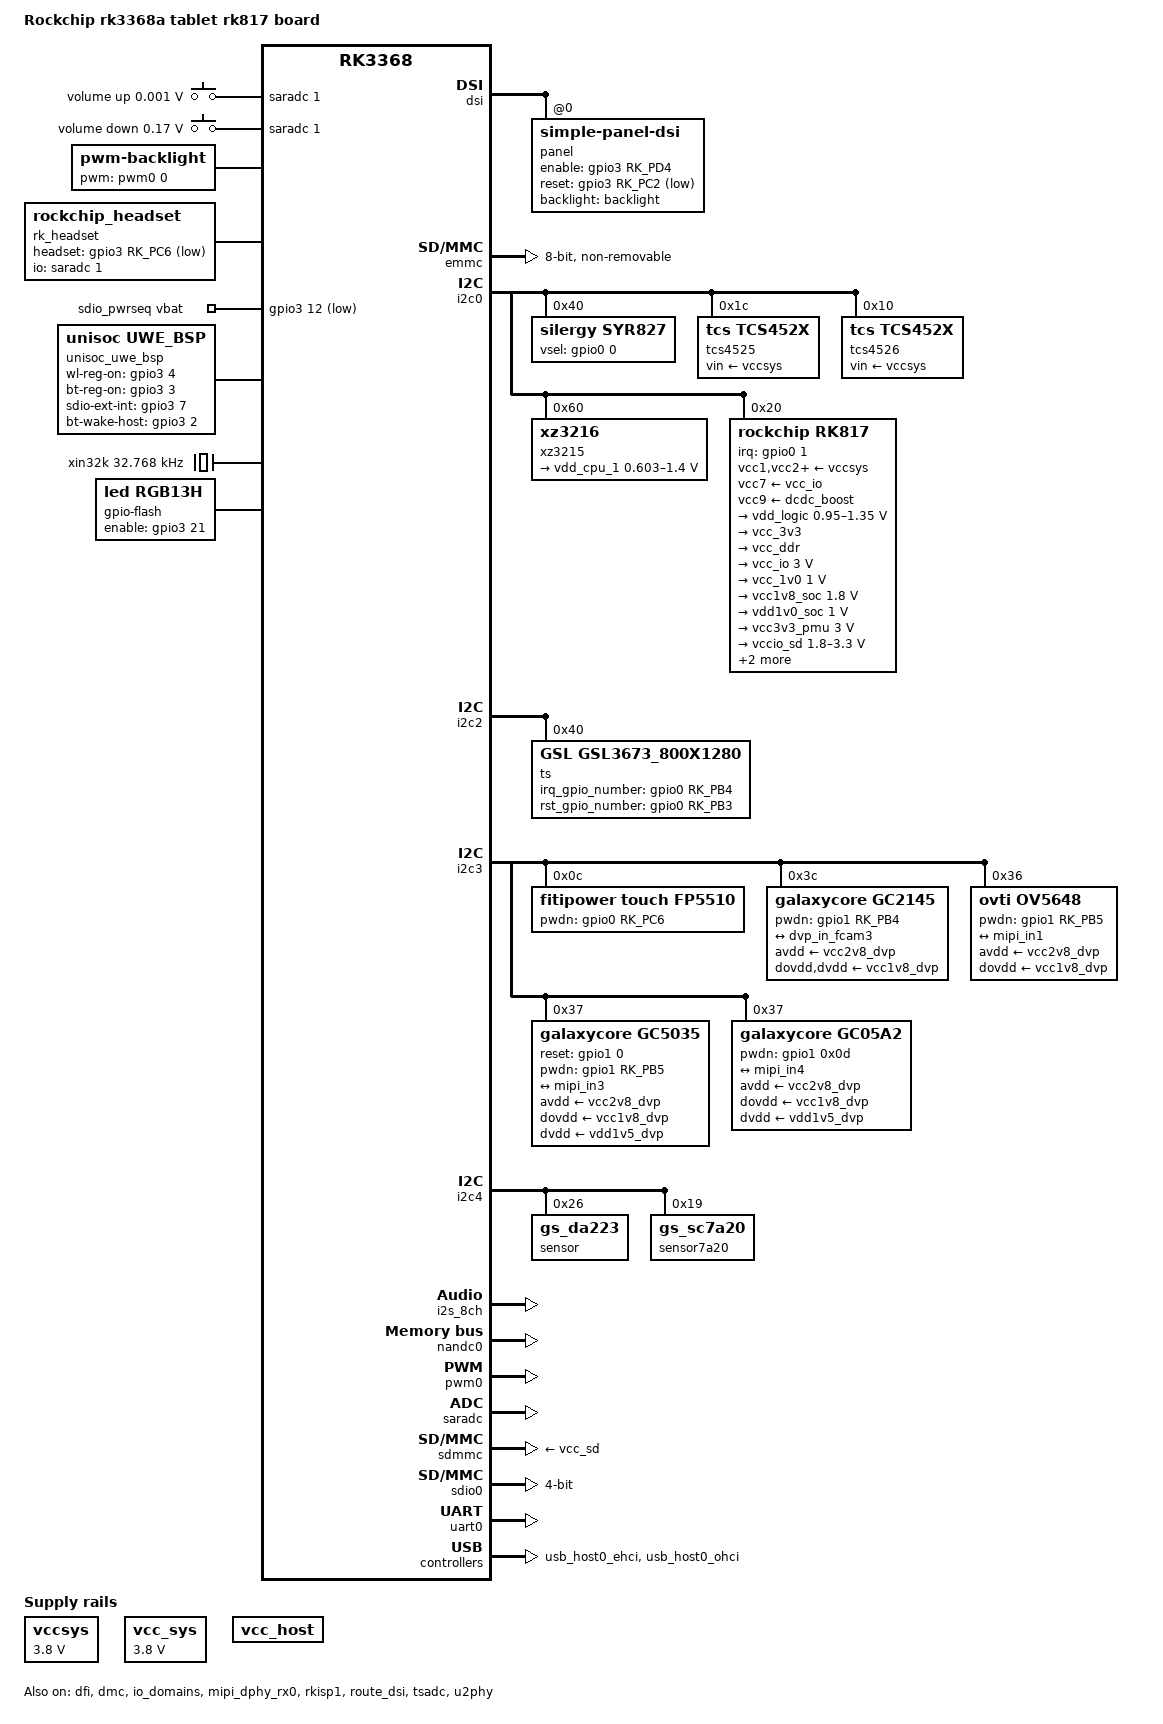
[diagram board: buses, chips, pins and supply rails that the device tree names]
// SPDX-License-Identifier: (GPL-2.0+ OR MIT)
/*
 * Copyright (c) 2020 Rockchip Electronics Co., Ltd.
 */

/dts-v1/;
#include <dt-bindings/input/input.h>
#include <dt-bindings/pwm/pwm.h>
#include <dt-bindings/sensor-dev.h>
#include "rk3368.dtsi"
#include "rk3368-android.dtsi"
/ {
	model = "Rockchip rk3368a tablet rk817 board";
	compatible = "rockchip,tablet", "rockchip,rk3368a", "rockchip,rk3368";

	adc_keys: adc-keys {
		compatible = "adc-keys";
		io-channels = <&saradc 1>;
		io-channel-names = "buttons";
		keyup-threshold-microvolt = <1024000>;
		poll-interval = <100>;

		vol-up-key {
			label = "volume up";
			linux,code = <KEY_VOLUMEUP>;
			press-threshold-microvolt = <1000>;
		};

		vol-down-key {
			label = "volume down";
			linux,code = <KEY_VOLUMEDOWN>;
			press-threshold-microvolt = <170000>;
		};
	};

	backlight: backlight {
		compatible = "pwm-backlight";
		pwms = <&pwm0 0 25000 0>;
		brightness-levels = <0x00 0x01 0x02 0x03 0x04 0x05 0x06 0x07 0x08 0x09 0x0a 0x0b 0x0c 0x0d 0x0e 0x0f 0x10 0x11 0x12 0x13 0x14 0x15 0x16 0x17 0x18 0x19 0x1a 0x1b 0x1c 0x1d 0x1e 0x1f 0x20 0x21 0x22 0x23 0x24 0x25 0x26 0x27 0x28 0x29 0x2a 0x2b 0x2c 0x2d 0x2e 0x2f 0x30 0x31 0x32 0x33 0x34 0x35 0x36 0x37 0x38 0x39 0x3a 0x3b 0x3c 0x3d 0x3e 0x3f 0x40 0x41 0x42 0x43 0x44 0x45 0x46 0x47 0x48 0x49 0x4a 0x4b 0x4c 0x4d 0x4e 0x4f 0x50 0x51 0x52 0x53 0x54 0x55 0x56 0x57 0x58 0x59 0x5a 0x5b 0x5c 0x5d 0x5e 0x5f 0x60 0x61 0x62 0x63 0x64 0x65 0x66 0x67 0x68 0x69 0x6a 0x6b 0x6c 0x6d 0x6e 0x6f 0x70 0x71 0x72 0x73 0x74 0x75 0x76 0x77 0x78 0x79 0x7a 0x7b 0x7c 0x7d 0x7e 0x7f 0x80 0x81 0x82 0x83 0x84 0x85 0x86 0x87 0x88 0x89 0x8a 0x8b 0x8c 0x8d 0x8e 0x8f 0x90 0x91 0x92 0x93 0x94 0x95 0x96 0x97 0x98 0x99 0x9a 0x9b 0x9c 0x9d 0x9e 0x9f 0xa0 0xa1 0xa2 0xa3 0xa4 0xa5 0xa6 0xa7 0xa8 0xa9 0xaa 0xab 0xac 0xad 0xae 0xaf 0xb0 0xb1 0xb2 0xb3 0xb4 0xb5 0xb6 0xb7 0xb8 0xb9 0xba 0xbb 0xbc 0xbd 0xbe 0xbf 0xc0 0xc1 0xc2 0xc3 0xc4 0xc5 0xc6 0xc7 0xc8 0xc9 0xca 0xcb 0xcc 0xcd 0xce 0xcf 0xd0 0xd1 0xd2 0xd3 0xd4 0xd5 0xd6 0xd7 0xd8 0xd9 0xda 0xdb 0xdc 0xdd 0xde 0xdf 0xe0 0xe1 0xe2 0xe3 0xe4 0xe5 0xe6 0xe7 0xe8 0xe9 0xea 0xeb 0xec 0xed 0xee 0xef 0xf0 0xf1 0xf2 0xf3 0xf4 0xf5 0xf6 0xf7 0xf8 0xf9 0xfa 0xfb 0xfc 0xfd 0xfe 0xff>;
		default-brightness-level = <128>;
	};

	charge-animation {
		compatible = "rockchip,uboot-charge";
		rockchip,uboot-charge-on = <0>;
		rockchip,android-charge-on = <1>;
		rockchip,uboot-low-power-voltage = <3400>;
		rockchip,screen-on-voltage = <3400>;
		status = "okay";
	};

	chosen: chosen {
		bootargs = "earlycon=uart8250,mmio32,0xff690000 swiotlb=1 console=ttyFIQ0 androidboot.baseband=N/A androidboot.veritymode=enforcing androidboot.hardware=rk30board androidboot.console=ttyFIQ0 init=/init kpti=0";
	};

	rk817-sound {
		compatible = "simple-audio-card";
		simple-audio-card,format = "i2s";
		simple-audio-card,name = "rockchip-rk817-codec";
		simple-audio-card,mclk-fs = <256>;
		simple-audio-card,widgets =
			"Microphone", "Mic Jack",
			"Headphone", "Headphone Jack";
		simple-audio-card,routing =
			"Mic Jack", "MICBIAS1",
			"IN1P", "Mic Jack",
			"Headphone Jack", "HPOL",
			"Headphone Jack", "HPOR";
		simple-audio-card,dai-link@0 {
			format = "i2s";
			cpu {
				sound-dai = <&i2s_8ch>;
			};
			codec {
				sound-dai = <&rk817_codec>;
			};
		};
		simple-audio-card,dai-link@1 {
			format = "i2s";
			cpu {
				sound-dai = <&i2s_8ch>;
			};
			codec {
				sound-dai = <&hdmi>;
			};
		};
	};

	rk_headset: rk-headset {
		compatible = "rockchip_headset";
		headset_gpio = <&gpio3 RK_PC6 GPIO_ACTIVE_LOW>;
		pinctrl-names = "default";
		pinctrl-0 = <&hp_det>;
		io-channels = <&saradc 1>;
	};

	sdio_pwrseq: sdio-pwrseq {
		compatible = "mmc-pwrseq-simple";
		pinctrl-names = "default";
		pinctrl-0 = <&wifi_enable_h>;

		/*
		 * On the module itself this is one of these (depending
		 * on the actual card populated):
		 * - SDIO_RESET_L_WL_REG_ON
		 * - PDN (power down when low)
		 */
		vbat-gpios = <&gpio3 12 GPIO_ACTIVE_LOW>;
	};

	vccsys: vccsys {
		compatible = "regulator-fixed";
		regulator-name = "vcc3v8_sys";
		regulator-always-on;
		regulator-boot-on;
		regulator-min-microvolt = <3800000>;
		regulator-max-microvolt = <3800000>;
	};

	sprd-wlan {
		compatible = "sprd,uwe5622-wifi";
		status = "okay";
	};

	unisoc_uwe_bsp: uwe-bsp {
		compatible = "unisoc,uwe_bsp";
		wl-reg-on = <&gpio3 4 GPIO_ACTIVE_HIGH>;
		bt-reg-on = <&gpio3 3 GPIO_ACTIVE_HIGH>;
		sdio-ext-int-gpio = <&gpio3 7 GPIO_ACTIVE_HIGH>;
		unisoc,btwf-file-name = "/vendor/etc/firmware/wcnmodem.bin";
		adma-tx;
		adma-rx;
		bt-wake-host-gpio = <&gpio3 2 GPIO_ACTIVE_HIGH>;
		blksz-512;
		keep-power-on;
		status = "okay";
	};

	sprd-mtty {
		compatible = "sprd,mtty";
		sprd,name = "ttyBT";
		status = "disabled";
	};

	wireless-wlan {
		compatible = "wlan-platdata";
		/* wifi_chip_type - wifi chip define
		* ap6210, ap6330, ap6335
		* rtl8188eu, rtl8723bs, rtl8723bu
		* esp8089
		*/
		wifi_chip_type = "ap6255";
		status = "disable";
	};

	wireless-bluetooth {
		compatible = "bluetooth-platdata";
		uart_rts_gpios = <&gpio2 27 GPIO_ACTIVE_LOW>;
		clocks = <&rk817 1>;
		clock-names = "ext_clock";
		pinctrl-names = "default","rts_gpio";
		pinctrl-0 = <&uart0_rts  &bt_irq_gpio>;
		pinctrl-1 = <&uart0_rts_gpio>;

		status = "disabled";
	};

	vcc_sys: vcc-sys {
		compatible = "regulator-fixed";
		regulator-name = "vcc_sys";
		regulator-always-on;
		regulator-boot-on;
		regulator-min-microvolt = <3800000>;
		regulator-max-microvolt = <3800000>;
	};

	vcc_host: vcc-host {
		compatible = "regulator-fixed";
		enable-active-high;
		pinctrl-names = "default";
		pinctrl-0 = <&host_vbus_drv>;
		regulator-name = "vcc_host";
		regulator-always-on;
	};

	xin32k: xin32k {
		compatible = "fixed-clock";
		clock-frequency = <32768>;
		clock-output-names = "xin32k";
		#clock-cells = <0>;
	};

	flash_rgb13h: flash-rgb13h {
		compatible = "led,rgb13h";
		label = "gpio-flash";
		led-max-microamp = <20000>;
		flash-max-microamp = <20000>;
		flash-max-timeout-us = <1000000>;
		enable-gpio = <&gpio3 21 GPIO_ACTIVE_HIGH>;
		rockchip,camera-module-index = <0>;
		rockchip,camera-module-facing = "back";
	};

};

&cif_clkout {
	/* cif_clkout */
	rockchip,pins = <1 11 RK_FUNC_1 &pcfg_pull_none_4ma>;
};

&cpu_l0 {
	reg-name = "vdd_cpu";
};

&cpu_l1 {
	reg-name = "vdd_cpu";
};

&cpu_l2 {
	reg-name = "vdd_cpu";
};

&cpu_l3 {
	reg-name = "vdd_cpu";
};

&cpu_b0 {
	reg-name = "vdd_cpu";
};

&cpu_b1 {
	reg-name = "vdd_cpu";
};

&cpu_b2 {
	reg-name = "vdd_cpu";
};

&cpu_b3 {
	reg-name = "vdd_cpu";
};

&gpu {
	logic-supply = <&vdd_logic>;
};

&dsi {
	status = "okay";
	//rockchip,lane-rate = <500>;

	panel:panel@0 {
		compatible = "simple-panel-dsi";
		reg = <0>;
		backlight = <&backlight>;
		enable-gpios = <&gpio3 RK_PD4 GPIO_ACTIVE_HIGH>;
		reset-gpios = <&gpio3 RK_PC2 GPIO_ACTIVE_LOW>;
		prepare-delay-ms = <120>;
		reset-delay-ms = <120>;
		init-delay-ms = <120>;
		enable-delay-ms = <120>;
		disable-delay-ms = <120>;
		unprepare-delay-ms = <120>;

		width-mm = <108>;
		height-mm = <173>;

		dsi,flags = <(MIPI_DSI_MODE_VIDEO | MIPI_DSI_MODE_VIDEO_BURST |
			      MIPI_DSI_MODE_LPM | MIPI_DSI_MODE_EOT_PACKET)>;
		dsi,format = <MIPI_DSI_FMT_RGB888>;
		dsi,lanes = <4>;

		panel-init-sequence3 = <0x390004ff 0x98810315 0x20100 0x15000202 0x150002 0x3531500 0x204d315 0x20500 0x15000206 0xd150002 0x7081500 0x2080015 0x20900 0x1500020a 0x150002 0xb001500 0x20c0015 0x20d00 0x1500020e 0x150002 0xf281500 0x2102815 0x21100 0x15000212 0x150002 0x13001500 0x2140015 0x21500 0x15000216 0x150002 0x17001500 0x2180015 0x21900 0x1500021a 0x150002 0x1b001500 0x21c0015 0x21d00 0x1500021e 0x40150002 0x1f801500 0x2200615 0x22101 0x15000222 0x150002 0x23001500 0x2240015 0x22500 0x15000226 0x150002 0x27001500 0x2283315 0x22933 0x1500022a 0x150002 0x2b001500 0x22c0015 0x22d00 0x1500022e 0x150002 0x2f001500 0x2300015 0x23100 0x15000232 0x150002 0x33001500 0x2340315 0x23500 0x15000236 0x150002 0x37001500 0x2389615 0x23900 0x1500023a 0x150002 0x3b001500 0x23c0015 0x23d00 0x1500023e 0x150002 0x3f001500 0x2400015 0x24100 0x15000242 0x150002 0x43001500 0x2440015 0x25000 0x15000251 0x23150002 0x52451500 0x2536715 0x25489 0x15000255 0xab150002 0x56011500 0x2572315 0x25845 0x15000259 0x67150002 0x5a891500 0x25bab15 0x25ccd 0x1500025d 0xef150002 0x5e001500 0x25f0815 0x26008 0x15000261 0x6150002 0x62061500 0x2630115 0x26401 0x15000265 0x150002 0x66001500 0x2670215 0x26815 0x15000269 0x15150002 0x6a141500 0x26b1415 0x26c0d 0x1500026d 0xd150002 0x6e0c1500 0x26f0c15 0x2700f 0x15000271 0xf150002 0x720e1500 0x2730e15 0x27402 0x15000275 0x8150002 0x76081500 0x2770615 0x27806 0x15000279 0x1150002 0x7a011500 0x27b0015 0x27c00 0x1500027d 0x2150002 0x7e151500 0x27f1515 0x28014 0x15000281 0x14150002 0x820d1500 0x2830d15 0x2840c 0x15000285 0xc150002 0x860f1500 0x2870f15 0x2880e 0x15000289 0xe150002 0x8a023900 0x4ff9881 0x4150002 0x6e2b1500 0x26f3715 0x23a24 0x1500028d 0x1a150002 0x87ba1500 0x2b2d115 0x2880b 0x15000238 0x1150002 0x39001500 0x2b50215 0x23125 0x1500023b 0x98390004 0xff988101 0x15000222 0xa150002 0x31001500 0x2533d15 0x2553d 0x15000250 0xb5150002 0x51ad1500 0x2600615 0x26220 0x390004ff 0x98810005 0x78011105 0x14012915 0x23500>;
		panel-init-sequence2 = [39 00 04 ff 98 81 03 15 00 02 01 00 15 00 02 02 00 15 00 02 03 53 15 00 02 04 53 15 00 02 05 13 15 00 02 06 04 15 00 02 07 02 15 00 02 08 02 15 00 02 09 00 15 00 02 0a 00 15 00 02 0b 00 15 00 02 0c 00 15 00 02 0d 00 15 00 02 0e 00 15 00 02 0f 00 15 00 02 10 00 15 00 02 11 00 15 00 02 12 00 15 00 02 13 00 15 00 02 14 00 15 00 02 15 00 15 00 02 16 00 15 00 02 17 00 15 00 02 18 00 15 00 02 19 00 15 00 02 1a 00 15 00 02 1b 00 15 00 02 1c 00 15 00 02 1d 00 15 00 02 1e c0 15 00 02 1f 00 15 00 02 20 02 15 00 02 21 09 15 00 02 22 00 15 00 02 23 00 15 00 02 24 00 15 00 02 25 00 15 00 02 26 00 15 00 02 27 00 15 00 02 28 55 15 00 02 29 03 15 00 02 2a 00 15 00 02 2b 00 15 00 02 2c 00 15 00 02 2d 00 15 00 02 2e 00 15 00 02 2f 00 15 00 02 30 00 15 00 02 31 00 15 00 02 32 00 15 00 02 33 00 15 00 02 34 00 15 00 02 35 00 15 00 02 36 00 15 00 02 37 00 15 00 02 38 3c 15 00 02 39 00 15 00 02 3a 00 15 00 02 3b 00 15 00 02 3c 00 15 00 02 3d 00 15 00 02 3e 00 15 00 02 3f 00 15 00 02 40 00 15 00 02 41 00 15 00 02 42 00 15 00 02 43 00 15 00 02 44 00 15 00 02 45 00 15 00 02 50 01 15 00 02 51 23 15 00 02 52 45 15 00 02 53 67 15 00 02 54 89 15 00 02 55 ab 15 00 02 56 01 15 00 02 57 23 15 00 02 58 45 15 00 02 59 67 15 00 02 5a 89 15 00 02 5b ab 15 00 02 5c cd 15 00 02 5d ef 15 00 02 5e 01 15 00 02 5f 0a 15 00 02 60 02 15 00 02 61 02 15 00 02 62 08 15 00 02 63 15 15 00 02 64 14 15 00 02 65 02 15 00 02 66 11 15 00 02 67 10 15 00 02 68 02 15 00 02 69 0f 15 00 02 6a 0e 15 00 02 6b 02 15 00 02 6c 0d 15 00 02 6d 0c 15 00 02 6e 06 15 00 02 6f 02 15 00 02 70 02 15 00 02 71 02 15 00 02 72 02 15 00 02 73 02 15 00 02 74 02 15 00 02 75 0a 15 00 02 76 02 15 00 02 77 02 15 00 02 78 06 15 00 02 79 15 15 00 02 7a 14 15 00 02 7b 02 15 00 02 7c 10 15 00 02 7d 11 15 00 02 7e 02 15 00 02 7f 0c 15 00 02 80 0d 15 00 02 81 02 15 00 02 82 0e 15 00 02 83 0f 15 00 02 84 08 15 00 02 85 02 15 00 02 86 02 15 00 02 87 02 15 00 02 88 02 15 00 02 89 02 15 00 02 8a 02 39 00 04 ff 98 81 04 15 00 02 3b c0 15 00 02 6c 15 15 00 02 6e 30 15 00 02 6f 55 15 00 02 3a 24 15 00 02 8d 1f 15 00 02 87 ba 15 00 02 26 76 15 00 02 b2 d1 15 00 02 b5 07 15 00 02 35 1f 15 00 02 88 0b 15 00 02 21 30 39 00 04 ff 98 81 01 15 00 02 22 0a 15 00 02 31 09 15 00 02 40 33 15 00 02 53 37 15 00 02 55 38 15 00 02 50 95 15 00 02 51 95 15 00 02 60 09 15 00 02 a0 0f 15 00 02 a1 17 15 00 02 a2 22 15 00 02 a3 19 15 00 02 a4 15 15 00 02 a5 28 15 00 02 a6 1c 15 00 02 a7 1c 15 00 02 a8 78 15 00 02 a9 1c 15 00 02 aa 28 15 00 02 ab 69 15 00 02 ac 1a 15 00 02 ad 19 15 00 02 ae 4b 15 00 02 af 22 15 00 02 b0 2a 15 00 02 b1 4b 15 00 02 b2 6b 15 00 02 b3 3f 15 00 02 c0 01 15 00 02 c1 17 15 00 02 c2 22 15 00 02 c3 19 15 00 02 c4 15 15 00 02 c5 28 15 00 02 c6 1c 15 00 02 c7 1d 15 00 02 c8 78 15 00 02 c9 1c 15 00 02 ca 28 15 00 02 cb 69 15 00 02 cc 1a 15 00 02 cd 19 15 00 02 ce 4b 15 00 02 cf 22 15 00 02 d0 2a 15 00 02 d1 4b 15 00 02 d2 6b 15 00 02 d3 3f 39 00 04 ff 98 81 00 05 78 01 11 05 14 01 29 15 00 02 35 00];
		panel-init-sequence1 = [15 00 02 e0 00 15 00 02 e1 93 15 00 02 e2 65 15 00 02 e3 f8 15 00 02 80 03 15 00 02 e0 01 15 00 02 00 00 15 00 02 01 3b 15 00 02 0c 74 15 00 02 17 00 15 00 02 18 af 15 00 02 19 00 15 00 02 1a 00 15 00 02 1b af 15 00 02 1c 00 15 00 02 35 26 15 00 02 37 09 15 00 02 38 04 15 00 02 39 00 15 00 02 3a 01 15 00 02 3c 78 15 00 02 3d ff 15 00 02 3e ff 15 00 02 3f 7f 15 00 02 40 06 15 00 02 41 a0 15 00 02 42 81 15 00 02 43 14 15 00 02 44 23 15 00 02 45 28 15 00 02 55 02 15 00 02 57 69 15 00 02 59 0a 15 00 02 5a 2a 15 00 02 5b 17 15 00 02 5d 7f 15 00 02 5e 69 15 00 02 5f 59 15 00 02 60 4c 15 00 02 61 47 15 00 02 62 39 15 00 02 63 3b 15 00 02 64 24 15 00 02 65 3d 15 00 02 66 3c 15 00 02 67 3c 15 00 02 68 5a 15 00 02 69 46 15 00 02 6a 4a 15 00 02 6b 43 15 00 02 6c 46 15 00 02 6d 20 15 00 02 6e 0f 15 00 02 6f 00 15 00 02 70 7f 15 00 02 71 69 15 00 02 72 59 15 00 02 73 4c 15 00 02 74 47 15 00 02 75 39 15 00 02 76 3b 15 00 02 77 24 15 00 02 78 3d 15 00 02 79 3c 15 00 02 7a 3c 15 00 02 7b 5a 15 00 02 7c 46 15 00 02 7d 4a 15 00 02 7e 43 15 00 02 7f 46 15 00 02 80 20 15 00 02 81 0f 15 00 02 82 00 15 00 02 e0 02 15 00 02 00 42 15 00 02 01 42 15 00 02 02 40 15 00 02 03 40 15 00 02 04 5e 15 00 02 05 5e 15 00 02 06 5f 15 00 02 07 5f 15 00 02 08 5f 15 00 02 09 57 15 00 02 0a 57 15 00 02 0b 77 15 00 02 0c 77 15 00 02 0d 47 15 00 02 0e 47 15 00 02 0f 45 15 00 02 10 45 15 00 02 11 4b 15 00 02 12 4b 15 00 02 13 49 15 00 02 14 49 15 00 02 15 5f 15 00 02 16 41 15 00 02 17 41 15 00 02 18 40 15 00 02 19 40 15 00 02 1a 5e 15 00 02 1b 5e 15 00 02 1c 5f 15 00 02 1d 5f 15 00 02 1e 5f 15 00 02 1f 57 15 00 02 20 57 15 00 02 21 77 15 00 02 22 77 15 00 02 23 46 15 00 02 24 46 15 00 02 25 44 15 00 02 26 44 15 00 02 27 4a 15 00 02 28 4a 15 00 02 29 48 15 00 02 2a 48 15 00 02 2b 5f 15 00 02 2c 01 15 00 02 2d 01 15 00 02 2e 00 15 00 02 2f 00 15 00 02 30 1f 15 00 02 31 1f 15 00 02 32 1e 15 00 02 33 1e 15 00 02 34 1f 15 00 02 35 17 15 00 02 36 17 15 00 02 37 37 15 00 02 38 37 15 00 02 39 08 15 00 02 3a 08 15 00 02 3b 0a 15 00 02 3c 0a 15 00 02 3d 04 15 00 02 3e 04 15 00 02 3f 06 15 00 02 40 06 15 00 02 41 1f 15 00 02 42 02 15 00 02 43 02 15 00 02 44 00 15 00 02 45 00 15 00 02 46 1f 15 00 02 47 1f 15 00 02 48 1e 15 00 02 49 1e 15 00 02 4a 1f 15 00 02 4b 17 15 00 02 4c 17 15 00 02 4d 37 15 00 02 4e 37 15 00 02 4f 09 15 00 02 50 09 15 00 02 51 0b 15 00 02 52 0b 15 00 02 53 05 15 00 02 54 05 15 00 02 55 07 15 00 02 56 07 15 00 02 57 1f 15 00 02 58 40 15 00 02 5b 30 15 00 02 5c 16 15 00 02 5d 34 15 00 02 5e 05 15 00 02 5f 02 15 00 02 63 00 15 00 02 64 6a 15 00 02 67 73 15 00 02 68 1d 15 00 02 69 08 15 00 02 6a 6a 15 00 02 6b 08 15 00 02 6c 00 15 00 02 6d 00 15 00 02 6e 00 15 00 02 6f 88 15 00 02 75 ff 15 00 02 77 dd 15 00 02 78 3f 15 00 02 79 15 15 00 02 7a 17 15 00 02 7d 14 15 00 02 7e 82 15 00 02 e0 04 15 00 02 00 0e 15 00 02 02 b3 15 00 02 09 61 15 00 02 0e 48 15 00 02 e0 00 15 00 02 e6 02 15 00 02 e7 0c 05 78 01 11 05 14 01 29 15 00 02 35 00];
		panel-init-sequence = <0x390004ff 0x98810315 0x20100 0x15000202 0x150002 0x3531500 0x204d315 0x20500 0x15000206 0xd150002 0x7081500 0x2080015 0x20900 0x1500020a 0x150002 0xb001500 0x20c0015 0x20d00 0x1500020e 0x150002 0xf281500 0x2102815 0x21100 0x15000212 0x150002 0x13001500 0x2140015 0x21500 0x15000216 0x150002 0x17001500 0x2180015 0x21900 0x1500021a 0x150002 0x1b001500 0x21c0015 0x21d00 0x1500021e 0x40150002 0x1f801500 0x2200615 0x22101 0x15000222 0x150002 0x23001500 0x2240015 0x22500 0x15000226 0x150002 0x27001500 0x2283315 0x22933 0x1500022a 0x150002 0x2b001500 0x22c0015 0x22d00 0x1500022e 0x150002 0x2f001500 0x2300015 0x23100 0x15000232 0x150002 0x33001500 0x2340315 0x23500 0x15000236 0x150002 0x37001500 0x2389615 0x23900 0x1500023a 0x150002 0x3b001500 0x23c0015 0x23d00 0x1500023e 0x150002 0x3f001500 0x2400015 0x24100 0x15000242 0x150002 0x43001500 0x2440015 0x25000 0x15000251 0x23150002 0x52451500 0x2536715 0x25489 0x15000255 0xab150002 0x56011500 0x2572315 0x25845 0x15000259 0x67150002 0x5a891500 0x25bab15 0x25ccd 0x1500025d 0xef150002 0x5e001500 0x25f0815 0x26008 0x15000261 0x6150002 0x62061500 0x2630115 0x26401 0x15000265 0x150002 0x66001500 0x2670215 0x26815 0x15000269 0x15150002 0x6a141500 0x26b1415 0x26c0d 0x1500026d 0xd150002 0x6e0c1500 0x26f0c15 0x2700f 0x15000271 0xf150002 0x720e1500 0x2730e15 0x27402 0x15000275 0x8150002 0x76081500 0x2770615 0x27806 0x15000279 0x1150002 0x7a011500 0x27b0015 0x27c00 0x1500027d 0x2150002 0x7e151500 0x27f1515 0x28014 0x15000281 0x14150002 0x820d1500 0x2830d15 0x2840c 0x15000285 0xc150002 0x860f1500 0x2870f15 0x2880e 0x15000289 0xe150002 0x8a023900 0x4ff9881 0x4150002 0x6e2b1500 0x26f3715 0x23a24 0x1500028d 0x1a150002 0x87ba1500 0x2b2d115 0x2880b 0x15000238 0x1150002 0x39001500 0x2b50215 0x23125 0x1500023b 0x98390004 0xff988101 0x15000222 0xa150002 0x31001500 0x2533d15 0x2553d 0x15000250 0xb5150002 0x51ad1500 0x2600615 0x26220 0x390004ff 0x98810005 0x78011105 0x14012915 0x23500>;
		panel-exit-sequence = <0x50a0128 0x5100110>;

		display-timings {
			native-mode = <&timing0>;

			timing0: timing0 {
				clock-frequency = <69000000>;
				hactive = <800>;
				vactive = <1280>;
				hback-porch = <25>; //59
				hfront-porch = <25>;//70 //16
				vback-porch = <10>; //22 //3
				vfront-porch = <12>; //16 //8
				hsync-len = <25>; //20 //5
				vsync-len = <2>; //5
				hsync-active = <0>;
				vsync-active = <0>;
				de-active = <0>;
				pixelclk-active = <0>;
			};
		};

		display-timings1 {
			native-mode = <&timing1>;

			timing1: timing1 {
				clock-frequency = <77000000>;
				hactive = <800>;
				vactive = <1280>;
				hback-porch = <70>;
				hfront-porch = <70>;
				vback-porch = <22>;
				vfront-porch = <16>;
				hsync-len = <20>;
				vsync-len = <6>;
				hsync-active = <0>;
				vsync-active = <0>;
				de-active = <0>;
				pixelclk-active = <0>;
			};
		};

		display-timings3 {
			native-mode = <&timing3>;

			timing3: timing3 {
				clock-frequency = <0x44aa200>;
				hactive = <0x320>;
				vactive = <0x500>;
				hback-porch = <0x30>;
				hfront-porch = <0x34>;
				vback-porch = <0x0f>;
				vfront-porch = <0x10>;
				hsync-len = <0x08>;
				vsync-len = <0x06>;
				hsync-active = <0x00>;
				vsync-active = <0x00>;
				de-active = <0x00>;
				pixelclk-active = <0x00>;
			};
		};
	};
};

&dfi {
	status = "okay";
};

&dmc {
	status = "okay";
	center-supply = <&vdd_logic>;
	devfreq-events = <&dfi>;
	upthreshold = <60>;
	downdifferential = <20>;
	system-status-freq = <
		/*system status		freq(KHz)*/
		SYS_STATUS_NORMAL	552000
		SYS_STATUS_REBOOT	552000
		SYS_STATUS_SUSPEND	192000
		SYS_STATUS_VIDEO_1080P	552000
		SYS_STATUS_VIDEO_4K	552000
		SYS_STATUS_PERFORMANCE	552000
		SYS_STATUS_BOOST	552000
		SYS_STATUS_DUALVIEW	552000
		SYS_STATUS_ISP		552000
	>;
	vop-bw-dmc-freq = <
	/* min_bw(MB/s) max_bw(MB/s) freq(KHz) */
		0       582      240000
		583     99999    396000
	>;
	vop-dclk-mode = <1>;
	auto-min-freq = <240000>;
	auto-freq-en = <0>;
};

&emmc {
	bus-width = <8>;
	cap-mmc-highspeed;
	mmc-hs200-1_8v;
	supports-emmc;
	disable-wp;
	non-removable;
	num-slots = <1>;
	status = "okay";
};

&i2c0 {
	status = "okay";

	syr827: syr827@40 {
		compatible = "silergy,syr827";
		status = "okay";
		reg = <0x40>;

		regulator-compatible = "fan53555-reg";
		regulator-name = "vdd_cpu";
		regulator-min-microvolt = <712500>;
		regulator-max-microvolt = <1500000>;
		regulator-ramp-delay = <1000>;
		fcs,suspend-voltage-selector = <1>;
		pinctrl-0 = <&vsel_gpio>;
		vsel-gpios = <&gpio0 0 GPIO_ACTIVE_HIGH>;
		regulator-always-on;
		regulator-boot-on;
		regulator-initial-state = <3>;
		regulator-state-mem {
			regulator-off-in-suspend;
		};
	};

	tcs4525: tcs4525@1c {
		compatible = "tcs,tcs452x";
		reg = <0x1c>;

		vin-supply = <&vccsys>;
		regulator-compatible = "fan53555-reg";
		regulator-name = "vdd_cpu";
		regulator-min-microvolt = <712500>;
		regulator-max-microvolt = <1390000>;
		regulator-ramp-delay = <2300>;
		fcs,suspend-voltage-selector = <1>;
		regulator-boot-on;
		regulator-always-on;
		regulator-state-mem {
			regulator-off-in-suspend;
		};
	};

	tcs4526: tcs4526@10 {
		compatible = "tcs,tcs452x";
		reg = <0x10>;

		vin-supply = <&vccsys>;
		regulator-compatible = "fan53555-reg";
		regulator-name = "vdd_cpu";
		regulator-min-microvolt = <712500>;
		regulator-max-microvolt = <1390000>;
		regulator-ramp-delay = <2300>;
		fcs,suspend-voltage-selector = <1>;
		regulator-boot-on;
		regulator-always-on;
		regulator-state-mem {
			regulator-off-in-suspend;
		};
	};

	xz3215: xz3215@60 {
		compatible = "xz3216";
		reg = <0x60>;

		regulators {
			#address-cells = <1>;
			#size-cells = <0>;

			vdd_cpu_1: regulator@0 {
				reg = <0x00>;
				vin-supply = <&vccsys>;
				regulator-compatible = "xz_dcdc1";
				regulator-name = "vdd_cpu";
				regulator-min-microvolt = <603000>;
				regulator-max-microvolt = <1400000>;
				regulator-ramp-delay = <1000>;
				vsel-gpios = <&gpio0 0 GPIO_ACTIVE_HIGH>;
				regulator-always-on;
				regulator-boot-on;
				fcs,suspend-voltage-selector = <1>;
				regulator-initial-state = <3>;
				regulator-state-mem {
					regulator-off-in-suspend;
				};
			};
		};
	};

	rk817: pmic@20 {
		compatible = "rockchip,rk817";
		reg = <0x20>;
		interrupt-parent = <&gpio0>;
		interrupts = <1 IRQ_TYPE_LEVEL_LOW>;
		pinctrl-names = "default", "pmic-sleep",
				"pmic-power-off", "pmic-reset";
		pinctrl-0 = <&pmic_int>;
		pinctrl-1 = <&soc_slppin_slp>, <&rk817_slppin_slp>;
		pinctrl-2 = <&soc_slppin_gpio>, <&rk817_slppin_pwrdn>;
		pinctrl-3 = <&soc_slppin_slp>, <&rk817_slppin_slp>;
		rockchip,system-power-controller;
		wakeup-source;
		#clock-cells = <1>;
		clock-output-names = "rk808-clkout1", "rk808-clkout2";
		//fb-inner-reg-idxs = <2>;
		/* 1: rst regs (default in codes), 0: rst the pmic */
		pmic-reset-func = <1>;

		vcc1-supply = <&vccsys>;
		vcc2-supply = <&vccsys>;
		vcc3-supply = <&vccsys>;
		vcc4-supply = <&vccsys>;
		vcc5-supply = <&vccsys>;
		vcc6-supply = <&vccsys>;
		vcc7-supply = <&vcc_io>;
		vcc8-supply = <&vccsys>;
		vcc9-supply = <&dcdc_boost>;

		pwrkey {
			status = "okay";
		};

		pinctrl_rk8xx: pinctrl_rk8xx {
			gpio-controller;
			#gpio-cells = <2>;

			rk817_ts_gpio1: rk817_ts_gpio1 {
				pins = "gpio_ts";
				function = "pin_fun1";
				/* output-low; */
				/* input-enable; */
			};

			rk817_gt_gpio2: rk817_gt_gpio2 {
				pins = "gpio_gt";
				function = "pin_fun1";
			};

			rk817_pin_ts: rk817_pin_ts {
				pins = "gpio_ts";
				function = "pin_fun0";
			};

			rk817_pin_gt: rk817_pin_gt {
				pins = "gpio_gt";
				function = "pin_fun0";
			};

			rk817_slppin_null: rk817_slppin_null {
				pins = "gpio_slp";
				function = "pin_fun0";
			};

			rk817_slppin_slp: rk817_slppin_slp {
				pins = "gpio_slp";
				function = "pin_fun1";
			};

			rk817_slppin_pwrdn: rk817_slppin_pwrdn {
				pins = "gpio_slp";
				function = "pin_fun2";
			};

			rk817_slppin_rst: rk817_slppin_rst {
				pins = "gpio_slp";
				function = "pin_fun3";
			};
		};

		regulators {
			vdd_logic: DCDC_REG1 {
				regulator-always-on;
				regulator-boot-on;
				regulator-min-microvolt = <950000>;
				regulator-max-microvolt = <1350000>;
				regulator-ramp-delay = <6001>;
				regulator-initial-mode = <0x2>;
				regulator-name = "vdd_logic";
				regulator-state-mem {
					regulator-on-in-suspend;
					regulator-suspend-microvolt = <950000>;
				};
			};

			vcc_3v3: DCDC_REG2 {
				regulator-name = "vcc_3v3";
				regulator-always-on;
				regulator-boot-on;
				regulator-state-mem {
					regulator-on-in-suspend;
				};
			};

			vcc_ddr: DCDC_REG3 {
				regulator-always-on;
				regulator-boot-on;
				regulator-initial-mode = <0x2>;
				regulator-name = "vcc_ddr";
				regulator-state-mem {
					regulator-on-in-suspend;
				};
			};

			vcc_io: DCDC_REG4 {
				regulator-always-on;
				regulator-boot-on;
				regulator-min-microvolt = <3000000>;
				regulator-max-microvolt = <3000000>;
				regulator-name = "vcc_io";
				regulator-state-mem {
					regulator-on-in-suspend;
					regulator-suspend-microvolt = <3000000>;
				};
			};

			vcc_1v0: LDO_REG1 {
				regulator-always-on;
				regulator-boot-on;
				regulator-min-microvolt = <1000000>;
				regulator-max-microvolt = <1000000>;
				regulator-name = "vcc_1v0";
				regulator-state-mem {
					regulator-on-in-suspend;
					regulator-suspend-microvolt = <1000000>;
				};
			};

			vcc1v8_soc: LDO_REG2 {
				regulator-always-on;
				regulator-boot-on;
				regulator-min-microvolt = <1800000>;
				regulator-max-microvolt = <1800000>;

				regulator-name = "vcc1v8_soc";
				regulator-state-mem {
					regulator-on-in-suspend;
					regulator-suspend-microvolt = <1800000>;
				};
			};

			vdd1v0_soc: LDO_REG3 {
				regulator-always-on;
				regulator-boot-on;
				regulator-min-microvolt = <1000000>;
				regulator-max-microvolt = <1000000>;

				regulator-name = "vcc1v0_soc";
				regulator-state-mem {
					regulator-on-in-suspend;
					regulator-suspend-microvolt = <1000000>;
				};
			};

			vcc3v3_pmu: LDO_REG4 {
				regulator-always-on;
				regulator-boot-on;
				regulator-min-microvolt = <3000000>;
				regulator-max-microvolt = <3000000>;

				regulator-name = "vcc3v3_pmu";
				regulator-state-mem {
					regulator-on-in-suspend;
					regulator-suspend-microvolt = <3000000>;

				};
			};

			vccio_sd: LDO_REG5 {
				regulator-always-on;
				regulator-boot-on;
				regulator-min-microvolt = <1800000>;
				regulator-max-microvolt = <3300000>;

				regulator-name = "vccio_sd";
				regulator-state-mem {
					regulator-on-in-suspend;
					regulator-suspend-microvolt = <3300000>;
				};
			};

			vcc_sd: LDO_REG6 {
				regulator-min-microvolt = <3300000>;
				regulator-max-microvolt = <3300000>;

				regulator-name = "vcc_sd";
				regulator-state-mem {
					regulator-on-in-suspend;
					regulator-suspend-microvolt = <3300000>;

				};
			};

			vcc2v8_dvp: LDO_REG7 {
				regulator-boot-on;
				regulator-min-microvolt = <2800000>;
				regulator-max-microvolt = <2800000>;

				regulator-name = "vcc2v8_dvp";
				regulator-state-mem {
					regulator-off-in-suspend;
					regulator-suspend-microvolt = <2800000>;
				};
			};

			vcc1v8_dvp: LDO_REG8 {
				regulator-boot-on;
				regulator-min-microvolt = <1800000>;
				regulator-max-microvolt = <1800000>;

				regulator-name = "vcc1v8_dvp";
				regulator-state-mem {
					regulator-off-in-suspend;
					regulator-suspend-microvolt = <1800000>;
				};
			};

			vdd1v5_dvp: LDO_REG9 {
				regulator-boot-on;
				regulator-min-microvolt = <1200000>;
				regulator-max-microvolt = <1200000>;

				regulator-name = "vdd1v5_dvp";
				regulator-state-mem {
					regulator-off-in-suspend;
					regulator-suspend-microvolt = <1200000>;
				};
			};

			dcdc_boost: BOOST {
				regulator-always-on;
				regulator-boot-on;
				regulator-min-microvolt = <5000000>;
				regulator-max-microvolt = <5000000>;
				regulator-name = "boost";
			};

			otg_switch: OTG_SWITCH {
				regulator-name = "otg_switch";
			};

			hdmi_switch: HDMI_SWITCH {
				regulator-always-on;
				regulator-boot-on;
				regulator-name = "hdmi_switch";
				regulator-state-mem {
					regulator-off-in-suspend;
				};
			};
		};

		battery {
			compatible = "rk817,battery";
			ocv_table = <0xd48 0xe57 0xe69 0xe84 0xe9c 0xead 0xebd 0xecb 0xed9 0xeeb 0xf02 0xf20 0xf4a 0xf76 0xf94 0xfd6 0xffe 0x1032 0x1067 0x109e 0x10e1>;
			design_capacity = <6185>;
			design_qmax = <6803>;
			bat_res = <100>;
			sleep_enter_current = <150>;
			sleep_exit_current = <180>;
			sleep_filter_current = <100>;
			power_off_thresd = <3400>;
			zero_algorithm_vol = <3950>;
			max_soc_offset = <60>;
			monitor_sec = <5>;
			sample_res = <10>;
			virtual_power = <0>;
		};

		charger {
			compatible = "rk817,charger";
			min_input_voltage = <4500>;
			max_input_current = <1500>;
			max_chrg_current = <2000>;
			max_chrg_voltage = <4350>;
			chrg_term_mode = <0>;
			chrg_finish_cur = <150>;
			virtual_power = <0>;
			dc_det_adc = <0>;
			extcon = <&u2phy>;
		};

		rk817_codec: codec {
			#sound-dai-cells = <0>;
			compatible = "rockchip,rk817-codec";
			clocks = <&cru SCLK_I2S_8CH_OUT>;
			clock-names = "mclk";
			pinctrl-names = "default";
			pinctrl-0 = <&i2s_8ch_mclk>;
			hp-volume = <20>;
			spk-volume = <15>;
			capture-volume = <21>;
			out-l2spk-r2hp;
			spk-ctl-gpios = <&gpio3 RK_PB5 GPIO_ACTIVE_HIGH>;
			status = "okay";
		};
	};
};

&i2c2 {
	status = "okay";

	ts@40 {
		status = "okay";
		compatible = "GSL,GSL3673_800X1280";
		reg = <0x40>;
		irq_gpio_number = <&gpio0 RK_PB4 IRQ_TYPE_LEVEL_HIGH>;
		rst_gpio_number = <&gpio0 RK_PB3 GPIO_ACTIVE_HIGH>;
	};

	cst2@1a {
		compatible = "cst2xx";
		reg = <0x1a>;
		irq-gpio = <&gpio0 RK_PB4 IRQ_TYPE_LEVEL_LOW>;
		wake-gpio = <&gpio0 RK_PB3 GPIO_ACTIVE_HIGH>;
		status = "disable";
	};
};

&i2c3 {
	status = "okay";

	fp5510: fp5510@0c {
		compatible = "fitipower touch,fp5510";
		status = "okay";
		reg = <0x0c>;

		pwdn-gpios = <&gpio0 RK_PC6 GPIO_ACTIVE_HIGH>;
		rockchip,vcm-start-current = <8>;
		rockchip,vcm-rated-current = <72>;
		rockchip,vcm-setp-mode = <13>;
		rockchip,camera-module-index = <0>;
		rockchip,camera-module-facing = "back";
	};

	gc0312: gc0312@21 {
		status = "disabled";
		compatible = "galaxycore,gc0312";
		reg = <0x21>;
		clocks = <&cru SCLK_VIP_OUT>;
		clock-names = "xvclk";

		avdd-supply = <&vcc2v8_dvp>;
		dovdd-supply = <&vcc1v8_dvp>;
		dvdd-supply = <&vdd1v5_dvp>;

		pwdn-gpios = <&gpio1 RK_PB4 GPIO_ACTIVE_HIGH>;
		rockchip,camera-module-index = <1>;
		rockchip,camera-module-facing = "front";
		rockchip,camera-module-name = "CameraKing";
		rockchip,camera-module-lens-name = "Largan";
		port {
			gc0312_out: endpoint {
				remote-endpoint = <&dvp_in_fcam>;
			};
		};
	};

	gc2145: gc2145@3c {
		status = "okay";
		compatible = "galaxycore,gc2145";
		reg = <0x3c>;
		clocks = <&cru SCLK_VIP_OUT>;
		clock-names = "xvclk";

		avdd-supply = <&vcc2v8_dvp>;
		dovdd-supply = <&vcc1v8_dvp>;
		dvdd-supply = <&vcc1v8_dvp>;

		pwdn-gpios = <&gpio1 RK_PB4 GPIO_ACTIVE_HIGH>;
		rockchip,camera-module-index = <1>;
		rockchip,camera-module-facing = "front";
		rockchip,camera-module-name = "default";
		rockchip,camera-module-lens-name = "default";
		port {
			gc2145_out: endpoint {
				remote-endpoint = <&dvp_in_fcam3>;
			};
		};
	};

	ov5640: ov5640@3c {
		status = "disabled";
		compatible = "ovti,ov5640";
		reg = <0x3c>;
		clocks = <&cru SCLK_VIP_OUT>;
		clock-names = "xvclk";

		avdd-supply = <&vcc2v8_dvp>;
		dovdd-supply = <&vcc1v8_dvp>;
		dvdd-supply = <&vdd1v5_dvp>;

		pwdn-gpios = <&gpio1 RK_PB4 GPIO_ACTIVE_HIGH>;
		rockchip,camera-module-index = <1>;
		rockchip,camera-module-facing = "front";
		rockchip,camera-module-name = "default";
		rockchip,camera-module-lens-name = "default";
		port {
			ov5640_out: endpoint {
				remote-endpoint = <&dvp_in_fcam2>;
			};
		};
	};

	ov2680@10 {
		status = "disabled";
		compatible = "ovti,ov2680";
		reg = <0x10>;
		clocks = <&cru SCLK_VIP_OUT>;
		clock-names = "xvclk";

		avdd-supply = <&vcc2v8_dvp>;
		dovdd-supply = <&vcc1v8_dvp>;
		dvdd-supply = <&vdd1v5_dvp>;

		pwdn-gpios = <&gpio1 RK_PB5 GPIO_ACTIVE_HIGH>;
		rockchip,camera-module-index = <0>;
		rockchip,camera-module-facing = "back";
		rockchip,camera-module-name = "KYT-3359-V5.0";
		rockchip,camera-module-lens-name = "M216A-233";
		flash-leds = <&flash_rgb13h>;
		port {
			ov2680_out: endpoint {
				remote-endpoint = <&mipi_in2>;
				data-lanes = <1>;
			};
		};
	};

	ov5648@36 {
		status = "okay";
		compatible = "ovti,ov5648";
		reg = <0x36>;
		clocks = <&cru SCLK_VIP_OUT>;
		clock-names = "xvclk";

		avdd-supply = <&vcc2v8_dvp>;
		dovdd-supply = <&vcc1v8_dvp>;

		pwdn-gpios = <&gpio1 RK_PB5 GPIO_ACTIVE_HIGH>;
		rockchip,camera-module-index = <0>;
		rockchip,camera-module-facing = "back";
		rockchip,camera-module-name = "default";
		rockchip,camera-module-lens-name = "default";
		lens-focus = <&fp5510>;
		flash-leds = <&flash_rgb13h>;
		port {
			ov5648_out: endpoint {
				remote-endpoint = <&mipi_in1>;
				data-lanes = <1 2>;
			};
		};
	};

	gc5035@37 {
		status = "okay";
		compatible = "galaxycore,gc5035";
		reg = <0x37>;
		clocks = <&cru SCLK_VIP_OUT>;
		clock-names = "xvclk";

		avdd-supply = <&vcc2v8_dvp>;
		dovdd-supply = <&vcc1v8_dvp>;
		dvdd-supply = <&vdd1v5_dvp>;

		reset-gpios = <&gpio1 0 GPIO_ACTIVE_HIGH>;
		pwdn-gpios = <&gpio1 RK_PB5 GPIO_ACTIVE_HIGH>;
		rockchip,camera-module-index = <0>;
		rockchip,camera-module-facing = "back";
		rockchip,camera-module-name = "gs5355a-vcm2";
		rockchip,camera-module-lens-name = "default";
		lens-focus = <&fp5510>;
		flash-leds = <&flash_rgb13h>;
		port {
			gc5035_out: endpoint {
				remote-endpoint = <&mipi_in3>;
				data-lanes = <1 2>;
			};
		};
	};

	gc05a2@37 {
		status = "okay";
		compatible = "galaxycore,gc05a2";
		reg = <0x37>;
		clocks = <&cru 0x84>;
		clock-names = "xvclk";
		avdd-supply = <&vcc2v8_dvp>;
		dovdd-supply = <&vcc1v8_dvp>;
		dvdd-supply = <&vdd1v5_dvp>;
		pwdn-gpios = <&gpio1 0x0d 0x00>;
		rockchip,camera-module-index = <0x00>;
		rockchip,camera-module-facing = "back";
		rockchip,camera-module-name = "gs5355a-vcm2";
		rockchip,camera-module-lens-name = "default";
		lens-focus = <&fp5510>;
		flash-leds = <&flash_rgb13h>;

		port {
			gc05a2_out: endpoint {
				remote-endpoint = <&mipi_in4>;
				data-lanes = <0x01 0x02>;
			};
		};
	};

	ov8858: ov8858@36 {
		status = "disabled";
		compatible = "ovti,ov8858";
		reg = <0x36>;
		clocks = <&cru SCLK_VIP_OUT>;
		clock-names = "xvclk";

		avdd-supply = <&vcc2v8_dvp>;
		dovdd-supply = <&vcc1v8_dvp>;
		dvdd-supply = <&vdd1v5_dvp>;

		pwdn-gpios = <&gpio1 RK_PB5 GPIO_ACTIVE_HIGH>;
		rockchip,camera-module-index = <0>;
		rockchip,camera-module-facing = "back";
		rockchip,camera-module-name = "CameraKing";
		rockchip,camera-module-lens-name = "Largan-9569A2";
		lens-focus = <&fp5510>;
		flash-leds = <&flash_rgb13h>;
		port {
			ov8858_out: endpoint {
				remote-endpoint = <&mipi_in>;
				data-lanes = <1 2>;
			};
		};
	};
};

&i2c4 {
	status = "okay";

	sensor@26 {
		compatible = "gs_da223";
		reg = <0x26>;
		type = <SENSOR_TYPE_ACCEL>;
		irq_enable = <0>;
		poll_delay_ms = <10>;
		layout = <3>;
	};

	sensor7a20@19 {
		compatible = "gs_sc7a20";
		reg = <0x19>;
		type = <SENSOR_TYPE_ACCEL>;
		irq_enable = <0>;
		poll_delay_ms = <10>;
		layout = <7>;
		reprobe_en = <0>;
		is_sc7a20e = <0x01>;
		swap_xy = <0x01>;
		revert_x = <0x00>;
		revert_y = <0x00>;
		revert_z = <0x00>;
	};

	mpu6500@68 {
		status = "disabled";
		compatible = "invensense,mpu6500";
		pinctrl-names = "default";
		pinctrl-0 = <&mpu6500_irq_gpio>;
		reg = <0x68>;
		irq-gpio = <&gpio3 14 IRQ_TYPE_EDGE_RISING>;
		mpu-int_config = <0x10>;
		mpu-level_shifter = <0>;
		mpu-orientation = <1 0 0 0 1 0 0 0 1>;
		orientation-x= <1>;
		orientation-y= <0>;
		orientation-z= <1>;
		support-hw-poweroff = <1>;
		mpu-debug = <1>;
	};

	sensor@4c {
		status = "disabled";
		compatible = "gs_mc3230";
		reg = <0x4c>;
		type = <SENSOR_TYPE_ACCEL>;
		irq_enable = <0>;
		poll_delay_ms = <30>;
		layout = <9>;
		reprobe_en = <1>;
		irq-gpio = <&gpio3 RK_PB6 IRQ_TYPE_LEVEL_LOW>;
	};

	sensor@18 {
		status = "gs_mc3230";
		compatible = "gs_sc7a30";
		reg = <0x18>;
		type = <SENSOR_TYPE_ACCEL>;
		irq-gpio = <&gpio3 RK_PB6 IRQ_TYPE_LEVEL_LOW>;
		irq_enable = <0>;
		poll_delay_ms = <30>;
		layout = <6>;
		reprobe_en = <1>;
	};

	sensor@10 {
		status = "gs_mc3230";
		compatible = "light_cm3218";
		pinctrl-names = "default";
		pinctrl-0 = <&cm3218_irq_gpio>;
		reg = <0x10>;
		type = <SENSOR_TYPE_LIGHT>;
		irq-gpio = <&gpio3 15 IRQ_TYPE_EDGE_FALLING>;
		irq_enable = <1>;
		poll_delay_ms = <30>;
	};

	sensor@1d {
		status = "disabled";
		compatible = "gs_sc7660";
		reg = <0x1d>;
		type = <SENSOR_TYPE_ACCEL>;
		irq_enable = <0>;
		poll_delay_ms = <30>;
		layout = <7>;
		revert_x = <0>;
		revert_y = <0>;
		revert_z = <0>;
	};
};

&i2s_8ch {
	status = "okay";
	rockchip,i2s-broken-burst-len;
	rockchip,playback-channels = <8>;
	rockchip,capture-channels = <2>;
	#sound-dai-cells = <0>;
};

&io_domains {
	status = "okay";

	dvp-supply = <&vcc1v8_dvp>;
	audio-supply = <&vcc_io>;
	gpio30-supply = <&vcc_io>;
	gpio1830-supply = <&vcc_io>;
	sdcard-supply = <&vccio_sd>;
	wifi-supply = <&vcc1v8_soc>;
};

&isp_dvp_d2d9 {
	rockchip,pins =
			/* cif_data4 ... cif_data9 */
			<1 2 RK_FUNC_1 &pcfg_pull_down>,
			<1 3 RK_FUNC_1 &pcfg_pull_down>,
			<1 4 RK_FUNC_1 &pcfg_pull_down>,
			<1 5 RK_FUNC_1 &pcfg_pull_down>,
			<1 6 RK_FUNC_1 &pcfg_pull_down>,
			<1 7 RK_FUNC_1 &pcfg_pull_down>,
			/* cif_sync, cif_href */
			<1 8 RK_FUNC_1 &pcfg_pull_down>,
			<1 9 RK_FUNC_1 &pcfg_pull_down>,
			/* cif_clkin */
			<1 10 RK_FUNC_1 &pcfg_pull_down>;
};

&isp_dvp_d10d11 {
	rockchip,pins =
			/* cif_data10, cif_data11 */
			<1 14 RK_FUNC_1 &pcfg_pull_down>,
			<1 15 RK_FUNC_1 &pcfg_pull_down>;
};

&isp_mmu {
	status = "okay";
};

&mipi_dphy_rx0 {
	status = "okay";

	ports {
		#address-cells = <1>;
		#size-cells = <0>;

		port@0 {
			reg = <0>;
			#address-cells = <1>;
			#size-cells = <0>;

			mipi_in: endpoint@1 {
				reg = <1>;
				remote-endpoint = <&ov8858_out>;
				data-lanes = <1 2>;
			};

			mipi_in1: endpoint@2 {
				reg = <2>;
				remote-endpoint = <&ov5648_out>;
				data-lanes = <1 2>;
			};

			mipi_in2: endpoint@3 {
				reg = <3>;
				remote-endpoint = <&ov2680_out>;
				data-lanes = <1>;
			};

			mipi_in3: endpoint@4 {
				reg = <4>;
				remote-endpoint = <&gc5035_out>;
				data-lanes = <1 2>;
			};

			mipi_in4: endpoint@5 {
				reg = <4>;
				remote-endpoint = <&gc05a2_out>;
				data-lanes = <1 2>;
			};
		};

		port@1 {
			reg = <1>;
			#address-cells = <1>;
			#size-cells = <0>;

			dphy_rx_out: endpoint@0 {
				reg = <0>;
				remote-endpoint = <&isp_mipi_in>;
			};
		};
	};
};

&nandc0 {
	status = "okay";
};

&pmu_io_domains {
	status = "okay";

	pmu-supply = <&vcc3v3_pmu>;
	vop-supply = <&vcc3v3_pmu>;
};

&pwm0 {
	status = "okay";
};

&pinctrl {

	headphone {
		hp_det: hp-det {
			rockchip,pins = <0 23 RK_FUNC_GPIO &pcfg_pull_up>;
		};
	};

	pmic {
		pmic_int: pmic_int {
			rockchip,pins =
				<0 RK_PA1 RK_FUNC_GPIO &pcfg_pull_up>;
		};

		soc_slppin_gpio: soc_slppin_gpio {
			rockchip,pins =
				<0 RK_PA0 RK_FUNC_GPIO &pcfg_output_low>;
		};

		soc_slppin_slp: soc_slppin_slp {
			rockchip,pins =
				<0 RK_PA0 RK_FUNC_1 &pcfg_pull_none>;
		};

		soc_slppin_rst: soc_slppin_rst {
			rockchip,pins =
				<0 RK_PA0 RK_FUNC_2 &pcfg_pull_none>;
		};

		vsel_gpio: vsel-gpio {
			rockchip,pins = <0 0 RK_FUNC_GPIO &pcfg_pull_down>;
		};
	};

	mpu6500 {
		mpu6500_irq_gpio: mpu6500-irq-gpio {
			rockchip,pins = <3 14 RK_FUNC_GPIO &pcfg_pull_none>;
		};
	};

	cm3218 {
		cm3218_irq_gpio: cm3218-irq-gpio {
			rockchip,pins = <3 15 RK_FUNC_GPIO &pcfg_pull_up>;
		};
	};

	dc_det {
		dc_irq_gpio: dc-irq-gpio {
			rockchip,pins = <0 17 RK_FUNC_GPIO &pcfg_pull_up>;
		};
	};

	pcfg_pull_none_4ma: pcfg-pull-none-4ma {
		bias-disable;
		drive-strength = <4>;
	};

	pcfg_pull_none_smt: pcfg-pull-none-smt {
		bias-disable;
		input-schmitt-enable;
	};

	pcfg_output_high: pcfg-output-high {
		output-high;
	};

	pcfg_output_low: pcfg-output-low {
		output-low;
	};

	pcfg_input_high: pcfg-input-high {
		bias-pull-up;
		input-enable;
	};

	pcfg_input: pcfg-input {
		input-enable;
	};

	sdio-pwrseq {
		wifi_enable_h: wifi-enable-h {
			rockchip,pins = <3 12 RK_FUNC_GPIO &pcfg_pull_none>;
		};
	};

	usb2 {
		host_vbus_drv: host-vbus-drv {
			rockchip,pins = <RK_GPIO0 4 RK_FUNC_GPIO &pcfg_pull_none>;
		};
	};

	wireless-bluetooth {
		uart0_rts_gpio: uart0-rts-gpio {
			rockchip,pins = <2 27 RK_FUNC_GPIO &pcfg_pull_none>;
		};
		bt_irq_gpio: bt-irq-gpio {
			rockchip,pins = <3 2 RK_FUNC_GPIO &pcfg_pull_down>, 
				<3 7 RK_FUNC_GPIO &pcfg_pull_down>;
		};
	};
};

&rkisp1 {
	status = "okay";
	pinctrl-names = "default";
	pinctrl-0 = <&isp_dvp_d2d9 &isp_dvp_d10d11 &cif_clkout>;
	port {
		#address-cells = <1>;
		#size-cells = <0>;

		dvp_in_fcam: endpoint@0 {
			reg = <0>;
			remote-endpoint = <&gc0312_out>;
		};

		isp_mipi_in: endpoint@1 {
			reg = <1>;
			remote-endpoint = <&dphy_rx_out>;
		};

		dvp_in_fcam2: endpoint@2 {
			reg = <2>;
			remote-endpoint = <&ov5640_out>;
		};

		dvp_in_fcam3: endpoint@3 {
			reg = <3>;
			remote-endpoint = <&gc2145_out>;
		};
	};
};

&route_dsi {
	status = "okay";
};

&rockchip_suspend {
	status = "okay";
	Rockchip,sleep-debug-en = <1>;
	rockchip,sleep-mode-config = <
		(0
		| RKPM_SLP_ARMOFF
		| RKPM_SLP_PMU_PLLS_PWRDN
		| RKPM_SLP_PMU_PMUALIVE_32K
		| RKPM_SLP_SFT_PLLS_DEEP
		| RKPM_SLP_PMU_DIS_OSC
		| RKPM_SLP_SFT_PD_NBSCUS
		)
	>;
	rockchip,wakeup-config = <
		(0
		| RKPM_GPIO_WKUP_EN
		| RKPM_USB_WKUP_EN
		| RKPM_CLUSTER_L_WKUP_EN
		)
	>;
};

&saradc {
	status = "okay";
};

&sdmmc {
	clock-frequency = <37500000>;
	clock-freq-min-max = <400000 37500000>;
	supports-sd;
	cap-mmc-highspeed;
	cap-sd-highspeed;
	card-detect-delay = <300>;
	disable-wp;
	num-slots = <1>;
	vmmc-supply = <&vcc_sd>;
	pinctrl-names = "default";
	pinctrl-0 = <&sdmmc_clk &sdmmc_cmd &sdmmc_cd &sdmmc_bus4>;
	status = "okay";
};

&sdio0 {
	max-frequency = <50000000>;
	assigned-clocks = <&cru SCLK_SDIO0>;
	assigned-clock-parents = <&cru PLL_GPLL>;
	clock-frequency = <50000000>;
	clock-freq-min-max = <200000 50000000>;
	supports-sdio;
	bus-width = <4>;
	disable-wp;
	cap-sd-highspeed;
	cap-sdio-irq;
	keep-power-in-suspend;
	logic-remove-card;
	num-slots = <1>;
	pinctrl-names = "default";
	pinctrl-0 = <&sdio0_bus4 &sdio0_cmd &sdio0_clk>;
	rockchip,default-sample-phase = <90>;
	status = "okay";
};

&tsadc {
	status = "okay";
};

&uart0 {
	pinctrl-names = "default";
	pinctrl-0 = <&uart0_xfer &uart0_cts>;
	status = "okay";
};

&u2phy {
	status = "okay";

	u2phy_otg: otg-port {
		status = "okay";
	};

	u2phy_host: host-port {
		phy-supply = <&vcc_host>;
		status = "okay";
	};
};

&usb_host0_ehci {
	status = "okay";
};

&usb_host0_ohci {
	status = "okay";
};

